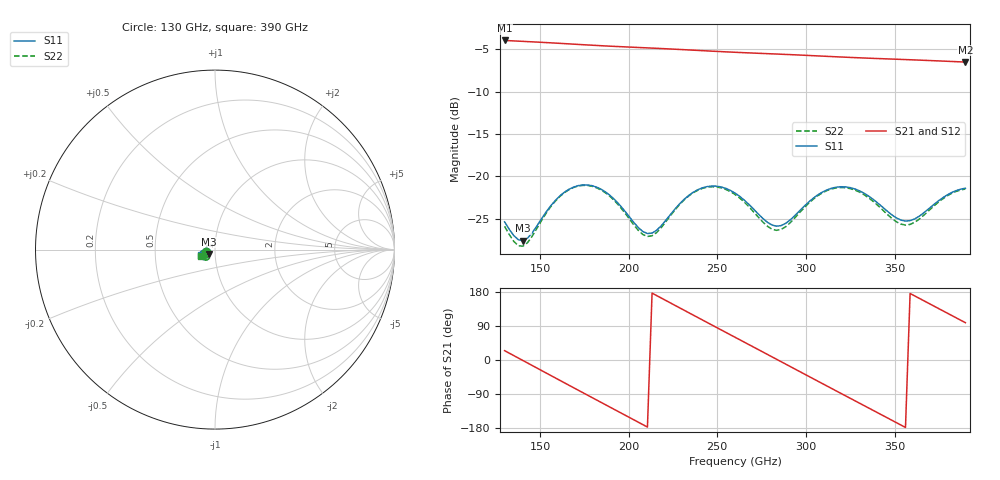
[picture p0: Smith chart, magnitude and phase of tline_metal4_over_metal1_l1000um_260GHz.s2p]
#  GHZ S DB R 50
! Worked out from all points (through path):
!   101 points, 130 GHz to 390 GHz, reference 50 ohm
!   highest |S21| = -3.96 dB at 130 GHz (marker M1); lowest = -6.5 dB at 390 GHz (marker M2)
!   group delay of S21, straight-line fit = 6.9 ps
!   lowest |S11| = -27.6 dB at 140.4 GHz (marker M3), VSWR 1.09, Z = 46.7 - j2.29 ohm
!   |S11| at or under -10 dB: start of sweep to end of sweep
!   |S22| runs from -28.2 to -21.1 dB; largest |S21 - S12| = 7.2e-14
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130  -25.37 -164.8  -3.96 24.6  -3.96 24.6  -25.90 -165.8
140.4  -27.58 -144.0  -4.07 -1.5  -4.07 -1.5  -28.23 -141.7
158.6  -22.84 -129.1  -4.27 -47.2  -4.27 -47.2  -22.92 -126.9
174.2  -21.01 -148.2  -4.46 -86.3  -4.46 -86.3  -21.06 -147.1
184.6  -21.53 -161.9  -4.58 -112.2  -4.58 -112.2  -21.62 -161.3
197.6  -24.03 -171.3  -4.72 -144.6  -4.72 -144.6  -24.24 -171.0
210.6  -26.74 -155.9  -4.84 -177.0  -4.84 -177.0  -27.09 -154.4
218.4  -25.82 -141.0  -4.92 163.5  -4.92 163.5  -26.04 -138.7
239.2  -21.55 -146.1  -5.14 111.6  -5.14 111.6  -21.62 -144.8
249.6  -21.15 -158.1  -5.25 85.8  -5.25 85.8  -21.24 -157.3
260  -21.96 -168.9  -5.36 60.1  -5.36 60.1  -22.13 -168.4
273  -24.40 -172.4  -5.47 27.9  -5.47 27.9  -24.77 -171.9
283.4  -25.87 -159.6  -5.56 2.1  -5.56 2.1  -26.36 -157.4
293.8  -24.62 -145.8  -5.66 -23.8  -5.66 -23.8  -24.89 -142.4
304.2  -22.57 -145.9  -5.76 -49.6  -5.76 -49.6  -22.68 -143.0
314.6  -21.39 -154.2  -5.86 -75.3  -5.86 -75.3  -21.47 -151.9
325  -21.33 -164.6  -5.96 -101.0  -5.96 -101.0  -21.44 -162.9
348.4  -24.52 -171.9  -6.16 -158.7  -6.16 -158.7  -24.94 -170.1
356.2  -25.27 -162.8  -6.22 -178.0  -6.22 -178.0  -25.74 -159.6
366.6  -24.29 -151.1  -6.30 156.3  -6.30 156.3  -24.57 -146.7
379.6  -22.20 -151.7  -6.42 124.1  -6.42 124.1  -22.31 -147.9
390  -21.39 -159.4  -6.51 98.5  -6.51 98.5  -21.49 -156.2
